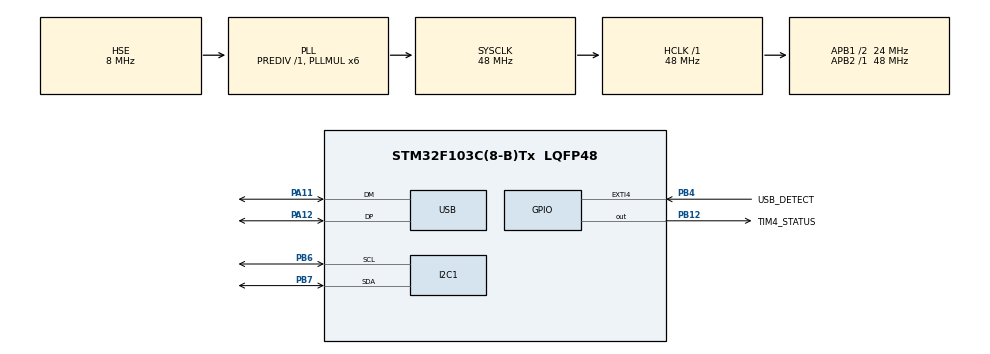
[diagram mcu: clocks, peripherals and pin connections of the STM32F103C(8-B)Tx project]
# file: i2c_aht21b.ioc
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Dma.I2C1_RX.1.Direction=DMA_PERIPH_TO_MEMORY
Dma.I2C1_RX.1.Instance=DMA1_Channel7
Dma.I2C1_RX.1.MemDataAlignment=DMA_MDATAALIGN_BYTE
Dma.I2C1_RX.1.MemInc=DMA_MINC_ENABLE
Dma.I2C1_RX.1.Mode=DMA_NORMAL
Dma.I2C1_RX.1.PeriphDataAlignment=DMA_PDATAALIGN_BYTE
Dma.I2C1_RX.1.PeriphInc=DMA_PINC_DISABLE
Dma.I2C1_RX.1.Priority=DMA_PRIORITY_LOW
Dma.I2C1_TX.0.Direction=DMA_MEMORY_TO_PERIPH
Dma.I2C1_TX.0.Instance=DMA1_Channel6
Dma.I2C1_TX.0.MemDataAlignment=DMA_MDATAALIGN_BYTE
Dma.I2C1_TX.0.MemInc=DMA_MINC_ENABLE
Dma.I2C1_TX.0.Mode=DMA_NORMAL
Dma.I2C1_TX.0.PeriphDataAlignment=DMA_PDATAALIGN_BYTE
Dma.I2C1_TX.0.PeriphInc=DMA_PINC_DISABLE
Dma.I2C1_TX.0.Priority=DMA_PRIORITY_LOW
Dma.Request0=I2C1_TX
Dma.Request1=I2C1_RX
Mcu.Family=STM32F1
Mcu.Name=STM32F103C(8-B)Tx
Mcu.Package=LQFP48
NVIC.DMA1_Channel6_IRQn=true\:0\:0\:false\:false\:true\:false\:true\:true
NVIC.DMA1_Channel7_IRQn=true\:0\:0\:false\:false\:true\:false\:true\:true
NVIC.EXTI4_IRQn=true\:0\:0\:false\:false\:true\:true\:true\:true
NVIC.I2C1_EV_IRQn=true\:0\:0\:false\:false\:true\:true\:true\:true
NVIC.PriorityGroup=NVIC_PRIORITYGROUP_4
NVIC.TIM4_IRQn=true\:0\:0\:false\:false\:true\:true\:true\:true
NVIC.USB_LP_CAN1_RX0_IRQn=true\:0\:0\:false\:false\:true\:false\:true\:true
PA11.Mode=Device
PA11.Signal=USB_DM
PA12.Mode=Device
PA12.Signal=USB_DP
PA13.Mode=Serial_Wire
PA13.Signal=SYS_JTMS-SWDIO
PA14.Mode=Serial_Wire
PA14.Signal=SYS_JTCK-SWCLK
PB12.GPIO_Label=TIM4_STATUS
PB12.PinState=GPIO_PIN_SET
PB12.Signal=GPIO_Output
PB4.GPIO_Label=USB_DETECT
PB4.GPIO_ModeDefaultEXTI=GPIO_MODE_IT_RISING_FALLING
PB4.GPIO_PuPd=GPIO_PULLDOWN
PB4.Signal=GPXTI4
PB6.Mode=I2C
PB6.Signal=I2C1_SCL
PB7.Mode=I2C
PB7.Signal=I2C1_SDA
PD0-OSC_IN.Mode=HSE-External-Oscillator
PD0-OSC_IN.Signal=RCC_OSC_IN
PD1-OSC_OUT.Mode=HSE-External-Oscillator
PD1-OSC_OUT.Signal=RCC_OSC_OUT
ProjectManager.HeapSize=0x200
ProjectManager.StackSize=0x400
ProjectManager.TargetToolchain=STM32CubeIDE
RCC.AHBFreq_Value=48000000
RCC.APB1CLKDivider=RCC_HCLK_DIV2
RCC.APB1Freq_Value=24000000
RCC.APB1TimFreq_Value=48000000
RCC.APB2Freq_Value=48000000
RCC.APB2TimFreq_Value=48000000
RCC.EnbaleCSS=true
RCC.HCLKFreq_Value=48000000
RCC.PLLMUL=RCC_PLL_MUL6
RCC.PLLSourceVirtual=RCC_PLLSOURCE_HSE
RCC.SYSCLKFreq_VALUE=48000000
RCC.SYSCLKSource=RCC_SYSCLKSOURCE_PLLCLK
RCC.USBFreq_Value=48000000
TIM4.Period=1000-1
TIM4.Prescaler=48000-1
USB_DEVICE.CLASS_NAME_FS=CUSTOM_HID
USB_DEVICE.PRODUCT_STRING_CUSTOMHID_FS=ATH21B
USB_DEVICE.USBD_CUSTOMHID_OUTREPORT_BUF_SIZE=2
USB_DEVICE.USBD_CUSTOM_HID_REPORT_DESC_SIZE=21
USB_DEVICE.VirtualMode=CustomHid
USB_DEVICE.VirtualModeFS=Custom_Hid_FS
VP_TIM4_VS_ClockSourceINT.Mode=Internal
VP_USB_DEVICE_VS_USB_DEVICE_CUSTOM_HID_FS.Mode=CUSTOM_HID_FS
board=custom

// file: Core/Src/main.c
/* USER CODE BEGIN Header */
/**
 ******************************************************************************
 * @file           : main.c
 * @brief          : Main program body
 ******************************************************************************
 * @attention
 *
 * Copyright (c) 2023 STMicroelectronics.
 * All rights reserved.
 *
 * This software is licensed under terms that can be found in the LICENSE file
 * in the root directory of this software component.
 * If no LICENSE file comes with this software, it is provided AS-IS.
 *
 ******************************************************************************
 */
/* USER CODE END Header */
#include "main.h"
#include "usb_device.h"

/* USER CODE BEGIN Includes */
#include "usbd_customhid.h"
#include <stdbool.h>
/* USER CODE END Includes */

/* USER CODE BEGIN PD */
#define AHT21B_Adress 0x38 << 1
/* USER CODE END PD */

I2C_HandleTypeDef hi2c1;
DMA_HandleTypeDef hdma_i2c1_tx;
DMA_HandleTypeDef hdma_i2c1_rx;

TIM_HandleTypeDef htim4;

/* USER CODE BEGIN PV */
extern USBD_HandleTypeDef hUsbDeviceFS;

uint8_t pTrData[3] = { 0xAC, 0x33, 0x00 };
uint8_t pRecData[7];
// Данные поступили с датчика ATH21B
volatile bool isDataReady = false;
// Массив для отправки по USB
uint8_t usbData[6];

// Отслеживаем изменение состояния соединения USB
// Флаг устанавливается в true при любом изменении состояния на линии USB
volatile bool isUsbChanged = false;
volatile uint32_t time_exti4 = 0;
/* USER CODE END PV */

void SystemClock_Config(void);
static void MX_GPIO_Init(void);
static void MX_DMA_Init(void);
static void MX_I2C1_Init(void);
static void MX_TIM4_Init(void);
/* USER CODE BEGIN PFP */
static void onUsbStateChange(void);
/* USER CODE END PFP */

int main(void)
{

  /* MCU Configuration--------------------------------------------------------*/

  /* Reset of all peripherals, Initializes the Flash interface and the Systick. */
  HAL_Init();

  /* Configure the system clock */
  SystemClock_Config();

  /* USER CODE BEGIN SysInit */
  __HAL_RCC_I2C1_CLK_ENABLE();
    HAL_Delay(100);
    __HAL_RCC_I2C1_FORCE_RESET();
    HAL_Delay(100);
    __HAL_RCC_I2C1_RELEASE_RESET();
    HAL_Delay(100);
  /* USER CODE END SysInit */

  /* Initialize all configured peripherals */
  MX_GPIO_Init();
  MX_DMA_Init();
  MX_I2C1_Init();
  MX_TIM4_Init();
  MX_USB_DEVICE_Init();
  /* USER CODE BEGIN 2 */
  HAL_TIM_Base_Start_IT(&htim4);
  // Для сигнализации, таймер TIM4 запущен, включаем светодиод TIM4_STATUS
  HAL_GPIO_WritePin(TIM4_STATUS_GPIO_Port, TIM4_STATUS_Pin, GPIO_PIN_RESET);
  /* USER CODE END 2 */

  /* Infinite loop */
  /* USER CODE BEGIN WHILE */
  while (1) {
    if (isDataReady) {
      isDataReady = false;
      usbData[0] = pRecData[1] >> 4;
      usbData[1] = pRecData[1] << 4 | pRecData[2] >> 4;
      usbData[2] = pRecData[2] << 4 | pRecData[3] >> 4;
      usbData[3] = pRecData[3] & 0x0F;
      usbData[4] = pRecData[4];
      usbData[5] = pRecData[5];

      // Отправляем данные на ПК
      USBD_CUSTOM_HID_SendReport(&hUsbDeviceFS, usbData, 6);
    }

    if (isUsbChanged && (HAL_GetTick() - time_exti4) > 200) {
      // Произошло изменение состояния на линии USB
      // Сбрасываем флаг
      isUsbChanged = false;
      // Вызываем фунцию обработчик смены состояния
      onUsbStateChange();
    }

    // Переходим в спящий режим
    // HAL_SuspendTick();
    // HAL_PWR_EnterSLEEPMode(PWR_LOWPOWERREGULATOR_ON, PWR_SLEEPENTRY_WFI);

    /* USER CODE END WHILE */

  }
}

void SystemClock_Config(void)
{
  RCC_OscInitTypeDef RCC_OscInitStruct = {0};
  RCC_ClkInitTypeDef RCC_ClkInitStruct = {0};
  RCC_PeriphCLKInitTypeDef PeriphClkInit = {0};

  /** Initializes the RCC Oscillators according to the specified parameters
  * in the RCC_OscInitTypeDef structure.
  */
  RCC_OscInitStruct.OscillatorType = RCC_OSCILLATORTYPE_HSE;
  RCC_OscInitStruct.HSEState = RCC_HSE_ON;
  RCC_OscInitStruct.HSEPredivValue = RCC_HSE_PREDIV_DIV1;
  RCC_OscInitStruct.HSIState = RCC_HSI_ON;
  RCC_OscInitStruct.PLL.PLLState = RCC_PLL_ON;
  RCC_OscInitStruct.PLL.PLLSource = RCC_PLLSOURCE_HSE;
  RCC_OscInitStruct.PLL.PLLMUL = RCC_PLL_MUL6;
  if (HAL_RCC_OscConfig(&RCC_OscInitStruct) != HAL_OK)
  {
    Error_Handler();
  }

  /** Initializes the CPU, AHB and APB buses clocks
  */
  RCC_ClkInitStruct.ClockType = RCC_CLOCKTYPE_HCLK|RCC_CLOCKTYPE_SYSCLK
                              |RCC_CLOCKTYPE_PCLK1|RCC_CLOCKTYPE_PCLK2;
  RCC_ClkInitStruct.SYSCLKSource = RCC_SYSCLKSOURCE_PLLCLK;
  RCC_ClkInitStruct.AHBCLKDivider = RCC_SYSCLK_DIV1;
  RCC_ClkInitStruct.APB1CLKDivider = RCC_HCLK_DIV2;
  RCC_ClkInitStruct.APB2CLKDivider = RCC_HCLK_DIV1;

  if (HAL_RCC_ClockConfig(&RCC_ClkInitStruct, FLASH_LATENCY_1) != HAL_OK)
  {
    Error_Handler();
  }
  PeriphClkInit.PeriphClockSelection = RCC_PERIPHCLK_USB;
  PeriphClkInit.UsbClockSelection = RCC_USBCLKSOURCE_PLL;
  if (HAL_RCCEx_PeriphCLKConfig(&PeriphClkInit) != HAL_OK)
  {
    Error_Handler();
  }

  /** Enables the Clock Security System
  */
  HAL_RCC_EnableCSS();
}

static void MX_I2C1_Init(void)
{

  hi2c1.Instance = I2C1;
  hi2c1.Init.ClockSpeed = 100000;
  hi2c1.Init.DutyCycle = I2C_DUTYCYCLE_2;
  hi2c1.Init.OwnAddress1 = 0;
  hi2c1.Init.AddressingMode = I2C_ADDRESSINGMODE_7BIT;
  hi2c1.Init.DualAddressMode = I2C_DUALADDRESS_DISABLE;
  hi2c1.Init.OwnAddress2 = 0;
  hi2c1.Init.GeneralCallMode = I2C_GENERALCALL_DISABLE;
  hi2c1.Init.NoStretchMode = I2C_NOSTRETCH_DISABLE;
  if (HAL_I2C_Init(&hi2c1) != HAL_OK)
  {
    Error_Handler();
  }

}

static void MX_TIM4_Init(void)
{

  TIM_ClockConfigTypeDef sClockSourceConfig = {0};
  TIM_MasterConfigTypeDef sMasterConfig = {0};

  htim4.Instance = TIM4;
  htim4.Init.Prescaler = 48000-1;
  htim4.Init.CounterMode = TIM_COUNTERMODE_UP;
  htim4.Init.Period = 1000-1;
  htim4.Init.ClockDivision = TIM_CLOCKDIVISION_DIV1;
  htim4.Init.AutoReloadPreload = TIM_AUTORELOAD_PRELOAD_DISABLE;
  if (HAL_TIM_Base_Init(&htim4) != HAL_OK)
  {
    Error_Handler();
  }
  sClockSourceConfig.ClockSource = TIM_CLOCKSOURCE_INTERNAL;
  if (HAL_TIM_ConfigClockSource(&htim4, &sClockSourceConfig) != HAL_OK)
  {
    Error_Handler();
  }
  sMasterConfig.MasterOutputTrigger = TIM_TRGO_RESET;
  sMasterConfig.MasterSlaveMode = TIM_MASTERSLAVEMODE_DISABLE;
  if (HAL_TIMEx_MasterConfigSynchronization(&htim4, &sMasterConfig) != HAL_OK)
  {
    Error_Handler();
  }

}

static void MX_DMA_Init(void)
{

  /* DMA controller clock enable */
  __HAL_RCC_DMA1_CLK_ENABLE();

  /* DMA interrupt init */
  /* DMA1_Channel6_IRQn interrupt configuration */
  HAL_NVIC_SetPriority(DMA1_Channel6_IRQn, 0, 0);
  HAL_NVIC_EnableIRQ(DMA1_Channel6_IRQn);
  /* DMA1_Channel7_IRQn interrupt configuration */
  HAL_NVIC_SetPriority(DMA1_Channel7_IRQn, 0, 0);
  HAL_NVIC_EnableIRQ(DMA1_Channel7_IRQn);

}

static void MX_GPIO_Init(void)
{
  GPIO_InitTypeDef GPIO_InitStruct = {0};

  /* GPIO Ports Clock Enable */
  __HAL_RCC_GPIOD_CLK_ENABLE();
  __HAL_RCC_GPIOB_CLK_ENABLE();
  __HAL_RCC_GPIOA_CLK_ENABLE();

  /*Configure GPIO pin Output Level */
  HAL_GPIO_WritePin(TIM4_STATUS_GPIO_Port, TIM4_STATUS_Pin, GPIO_PIN_SET);

  /*Configure GPIO pin : TIM4_STATUS_Pin */
  GPIO_InitStruct.Pin = TIM4_STATUS_Pin;
  GPIO_InitStruct.Mode = GPIO_MODE_OUTPUT_PP;
  GPIO_InitStruct.Pull = GPIO_NOPULL;
  GPIO_InitStruct.Speed = GPIO_SPEED_FREQ_LOW;
  HAL_GPIO_Init(TIM4_STATUS_GPIO_Port, &GPIO_InitStruct);

  /*Configure GPIO pin : USB_DETECT_Pin */
  GPIO_InitStruct.Pin = USB_DETECT_Pin;
  GPIO_InitStruct.Mode = GPIO_MODE_IT_RISING_FALLING;
  GPIO_InitStruct.Pull = GPIO_PULLDOWN;
  HAL_GPIO_Init(USB_DETECT_GPIO_Port, &GPIO_InitStruct);

  /* EXTI interrupt init*/
  HAL_NVIC_SetPriority(EXTI4_IRQn, 0, 0);
  HAL_NVIC_EnableIRQ(EXTI4_IRQn);

/* USER CODE BEGIN MX_GPIO_Init_2 */
  // Устанавливаем пин DP как выход
  GPIO_InitStruct.Pin = GPIO_PIN_12;
  GPIO_InitStruct.Mode = GPIO_MODE_OUTPUT_PP;
  GPIO_InitStruct.Speed = GPIO_SPEED_FREQ_LOW;
  HAL_GPIO_Init(GPIOA, &GPIO_InitStruct);
  // Подтягиваем пин DP к GND
  HAL_GPIO_WritePin(GPIOA, GPIO_PIN_12, GPIO_PIN_RESET);
  // Задержка для завершения процессов на хосте
  for (uint16_t i = 0; i < 1000; i++);

  // Переинициализируем пин DP для работы с USB
  GPIO_InitStruct.Mode = GPIO_MODE_INPUT;
  GPIO_InitStruct.Pull = GPIO_NOPULL;
  HAL_GPIO_Init(GPIOA, &GPIO_InitStruct);
  // Задержка для завершения процессов на хосте
  for (uint16_t i = 0; i < 1000; i++);
/* USER CODE END MX_GPIO_Init_2 */
}

/* USER CODE BEGIN 4 */
void HAL_TIM_PeriodElapsedCallback(TIM_HandleTypeDef *htim)
{
  if (htim->Instance == TIM4) {
    // Переполнение таймера TIM4, отправляем AHT21B запрос на получение данных
    // HAL_ResumeTick();
    HAL_I2C_Master_Transmit_DMA(&hi2c1, (uint16_t) AHT21B_Adress, pTrData, 3);
  }
}

void HAL_I2C_MasterTxCpltCallback(I2C_HandleTypeDef *hi2c)
{
  if (hi2c->Instance == I2C1) {
    // Отправка данных AHT21B завершена, считываем данные
    // HAL_ResumeTick();
    HAL_I2C_Master_Receive_DMA(&hi2c1, (uint16_t) AHT21B_Adress, pRecData, 7);
  }
}

void HAL_I2C_MasterRxCpltCallback(I2C_HandleTypeDef *hi2c)
{
  if (hi2c->Instance == I2C1) {
    // Данные с AHT21B получены, выставляем флаг готовности
    // HAL_ResumeTick();
    isDataReady = true;
  }
}

void HAL_GPIO_EXTI_Callback(uint16_t GPIO_Pin)
{
  if (GPIO_Pin == USB_DETECT_Pin) {
    // Внешнее прерываение на линии PB4
    // Сразу же отключаем внешнее прерывания EXTI4
    HAL_NVIC_DisableIRQ(EXTI4_IRQn);
    // Устанавливаем флаг и сохраняем текущее время
    isUsbChanged = true;
    time_exti4 = HAL_GetTick();
  }
}

static void onUsbStateChange(void)
{
  // Ожидаем 200 мс для повторной проверки питания линии USB
  if (HAL_GPIO_ReadPin(USB_DETECT_GPIO_Port, USB_DETECT_Pin) == GPIO_PIN_RESET) {
    // На линии USB отсутствует напряжние, произошёл обрыв соединения
    if (htim4.State == HAL_TIM_STATE_BUSY) {
      // Если таймер TIM4 включен, отключаем его
      HAL_TIM_Base_Stop_IT(&htim4);
      // Для сигнализации, таймер TIM4 остановлен, выключаем светодиод TIM4_STATUS
      HAL_GPIO_WritePin(TIM4_STATUS_GPIO_Port, TIM4_STATUS_Pin, GPIO_PIN_SET);
    }
  } else {
    // На линии USB высокое напряжние, произошло подключение кабеля USB
    if (htim4.State == HAL_TIM_STATE_READY) {
      // Если таймер TIM4 выключен, запускаем
      HAL_TIM_Base_Start_IT(&htim4);
      // Для сигнализации, таймер TIM4 запущен, включаем светодиод TIM4_STATUS
      HAL_GPIO_WritePin(TIM4_STATUS_GPIO_Port, TIM4_STATUS_Pin, GPIO_PIN_RESET);
    }
  }
  // Запускаем проверку для нового ослеживания разрыва соединения
  // При помощи макроса очищаем бит EXTI_PR
  __HAL_GPIO_EXTI_CLEAR_IT(USB_DETECT_Pin);
  // Очищаем бит NVIC_ICPRx
  NVIC_ClearPendingIRQ(EXTI4_IRQn);
  // Включаем внешнее прерывание
  HAL_NVIC_EnableIRQ(EXTI4_IRQn);
}
/* USER CODE END 4 */

void Error_Handler(void)
{
  __disable_irq();
  while (1) {
  }
}
